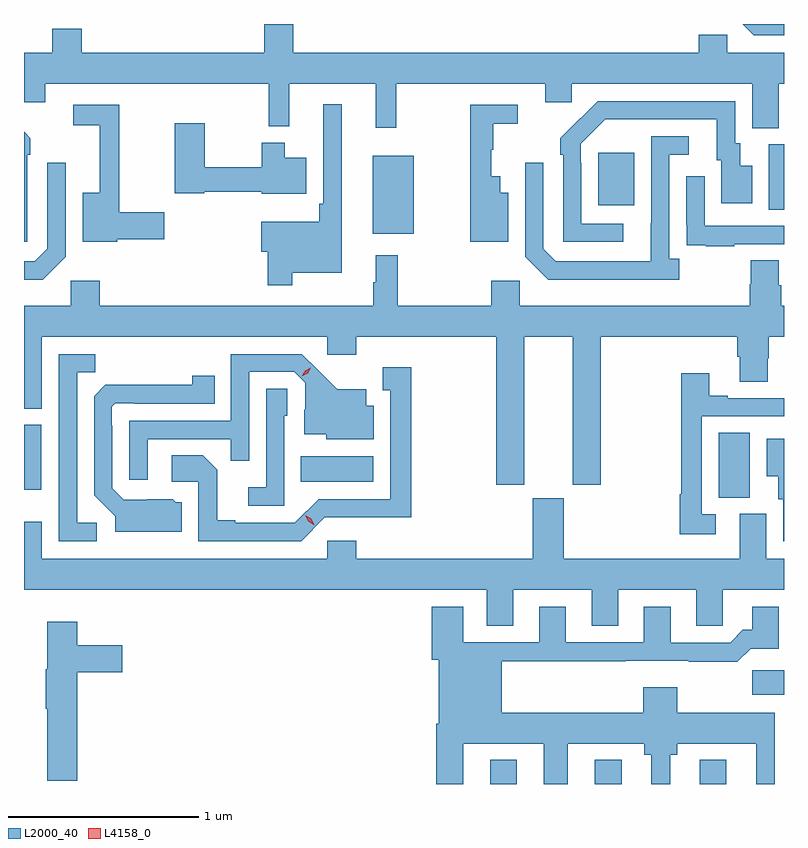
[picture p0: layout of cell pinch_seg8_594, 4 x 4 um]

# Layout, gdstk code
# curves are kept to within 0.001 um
import gdstk
lib = gdstk.Library(unit=1e-6, precision=1e-09)
def R(c, l, rs):  # rectangles x0, y0, x1, y1
    for r in rs: c.add(gdstk.rectangle(r[:2], r[2:], *l))
def A(c, l, x, y, w, h, nx, ny, dx, dy):  # array of equal rectangles
    R(c, l, [(x+i*dx, y+j*dy, x+i*dx+w, y+j*dy+h) for i in range(nx) for j in range(ny)])
def P(c, l, *ps):  # polygons
    for p in ps: c.add(gdstk.Polygon(p, *l))
L2000_40 = (2000, 40)
L4158_0 = (4158, 0)

pinch_seg8_594 = lib.new_cell('pinch_seg8_594')
A(pinch_seg8_594, L2000_40, 159.233, 1098.162, 0.14, 0.127, 3, 1, 0.552, 0)
R(pinch_seg8_594, L2000_40, [(160.614,1098.632,160.78,1098.761), (160.436,1099.669,160.6,1100.012), (156.78,1099.71,156.871,1100.053), (158.236,1099.754,158.617,1099.888), (158.615,1101.059,158.83,1101.469), (160.7,1101.184,160.78,1101.528), (159.803,1101.209,159.991,1101.484)])
P(pinch_seg8_594, L2000_40, [(160.753,1101.848),(160.78,1101.848),(160.78,1102.012),(160.482,1102.012),(160.482,1102.105),(160.331,1102.105),(160.331,1102.012),(158.198,1102.012),(158.198,1102.162),(158.045,1102.162),(158.045,1102.012),(157.085,1102.012),(157.085,1102.136),(156.929,1102.136),(156.929,1102.012),(156.78,1102.012),(156.78,1101.75),(156.892,1101.75),(156.892,1101.848),(158.067,1101.848),(158.067,1101.623),(158.177,1101.623),(158.177,1101.848),(158.63,1101.848),(158.63,1101.615),(158.74,1101.615),(158.74,1101.848),(159.524,1101.848),(159.524,1101.75),(159.663,1101.75),(159.663,1101.848),(160.613,1101.848),(160.613,1101.613),(160.753,1101.613)],
  [(160.78,1102.162),(160.562,1102.162),(160.62,1102.104),(160.78,1102.104)],
  [(159.934,1101.111),(159.714,1101.111),(159.714,1101.431),(159.711,1101.431),(159.711,1101.531),(159.84,1101.66),(160.427,1101.66),(160.427,1101.444),(160.451,1101.444),(160.451,1101.219),(160.612,1101.219),(160.612,1101.415),(160.549,1101.415),(160.549,1101.534),(160.524,1101.534),(160.524,1101.756),(159.8,1101.756),(159.603,1101.561),(159.603,1101.473),(159.618,1101.473),(159.618,1101.015),(159.934,1101.015)],
  [(158.191,1100.852),(158.452,1100.852),(158.452,1101.739),(158.355,1101.739),(158.355,1101.217),(158.335,1101.217),(158.335,1101.121),(158.028,1101.121),(158.028,1100.963),(158.062,1100.963),(158.062,1100.787),(158.191,1100.787)],
  [(159.328,1101.274),(159.286,1101.274),(159.286,1101.361),(159.239,1101.361),(159.239,1101.501),(159.25,1101.501),(159.25,1101.637),(159.379,1101.637),(159.379,1101.738),(159.129,1101.738),(159.129,1101.357),(159.128,1101.357),(159.128,1101.017),(159.328,1101.017)],
  [(157.272,1101.028),(157.519,1101.028),(157.519,1101.17),(157.28,1101.17),(157.28,1101.738),(157.038,1101.738),(157.038,1101.63),(157.178,1101.63),(157.178,1101.274),(157.088,1101.274),(157.088,1101.017),(157.272,1101.017)],
  [(158.266,1101.457),(158.152,1101.457),(158.152,1101.538),(158.03,1101.538),(158.03,1101.409),(157.732,1101.409),(157.732,1101.64),(157.574,1101.64),(157.574,1101.272),(157.728,1101.272),(157.728,1101.28),(158.03,1101.28),(158.03,1101.269),(158.266,1101.269)],
  [(156.798,1101.473),(156.813,1101.473),(156.813,1101.561),(156.78,1101.594),(156.78,1101.015),(156.798,1101.015)],
  [(160.228,1100.926),(160.176,1100.926),(160.176,1101.474),(160.279,1101.474),(160.279,1101.57),(160.08,1101.57),(160.079,1100.913),(159.579,1100.913),(159.513,1100.979),(159.513,1101.433),(159.417,1101.433),(159.417,1100.937),(159.538,1100.816),(160.228,1100.816)],
  [(156.999,1100.937),(156.999,1101.433),(156.903,1101.433),(156.903,1100.979),(156.837,1100.913),(156.78,1100.913),(156.78,1100.816),(156.878,1100.816)],
  [(160.517,1101.003),(160.78,1101.003),(160.78,1101.099),(160.362,1101.099),(160.362,1101.361),(160.266,1101.361),(160.266,1101.106),(160.267,1101.106),(160.267,1100.997),(160.369,1100.997),(160.369,1100.991),(160.517,1100.991)],
  [(160.753,1100.786),(160.753,1100.918),(160.606,1100.918),(160.606,1100.793),(160.601,1100.793),(160.601,1100.68),(159.39,1100.68),(159.39,1100.812),(159.239,1100.812),(159.239,1100.68),(158.747,1100.68),(158.747,1100.944),(158.63,1100.944),(158.63,1100.804),(158.619,1100.804),(158.619,1100.68),(157.178,1100.68),(157.178,1100.812),(157.026,1100.812),(157.026,1100.68),(156.78,1100.68),(156.78,1100.138),(156.874,1100.138),(156.874,1100.516),(158.376,1100.516),(158.376,1100.421),(158.528,1100.421),(158.528,1100.516),(159.265,1100.516),(159.265,1099.737),(159.412,1099.737),(159.412,1100.516),(159.668,1100.516),(159.668,1099.737),(159.816,1099.737),(159.816,1100.516),(160.535,1100.516),(160.535,1100.41),(160.547,1100.41),(160.547,1100.278),(160.695,1100.278),(160.695,1100.403),(160.7,1100.403),(160.7,1100.516),(160.78,1100.516),(160.78,1100.68),(160.766,1100.68),(160.766,1100.786)],
  [(157.162,1099.536),(157.059,1099.536),(157.059,1100.329),(157.155,1100.329),(157.155,1100.424),(156.963,1100.424),(156.963,1099.44),(157.162,1099.44)],
  [(157.431,1099.977),(157.867,1099.977),(157.867,1099.864),(157.965,1099.864),(157.965,1100.331),(158.202,1100.331),(158.259,1100.274),(158.259,1100.132),(158.255,1100.132),(158.255,1100.003),(158.37,1100.003),(158.37,1099.976),(158.62,1099.976),(158.62,1100.152),(158.581,1100.152),(158.581,1100.239),(158.429,1100.239),(158.242,1100.424),(157.869,1100.424),(157.869,1100.073),(157.335,1100.073),(157.335,1099.764),(157.431,1099.764)],
  [(158.364,1099.566),(158.819,1099.565),(158.819,1100.356),(158.669,1100.356),(158.669,1100.235),(158.708,1100.235),(158.708,1099.662),(158.331,1099.662),(158.205,1099.536),(157.891,1099.536),(157.891,1099.549),(157.797,1099.549),(157.797,1099.816),(157.721,1099.892),(157.557,1099.892),(157.557,1099.752),(157.698,1099.752),(157.698,1099.44),(158.238,1099.44)],
  [(160.42,1099.581),(160.347,1099.581),(160.347,1100.097),(160.78,1100.097),(160.78,1100.193),(160.483,1100.193),(160.483,1100.206),(160.387,1100.206),(160.387,1100.323),(160.239,1100.323),(160.239,1099.688),(160.231,1099.688),(160.231,1099.476),(160.42,1099.476)],
  [(157.609,1099.644),(157.578,1099.644),(157.562,1099.66),(157.305,1099.659),(157.245,1099.719),(157.245,1100.048),(157.242,1100.048),(157.242,1100.148),(157.26,1100.166),(157.36,1100.166),(157.36,1100.163),(157.784,1100.163),(157.784,1100.311),(157.666,1100.311),(157.666,1100.264),(157.208,1100.263),(157.149,1100.204),(157.149,1099.682),(157.259,1099.572),(157.259,1099.49),(157.609,1099.49)],
  [(158.151,1100.1),(158.166,1100.1),(158.166,1100.243),(158.055,1100.243),(158.055,1099.723),(157.959,1099.723),(157.959,1099.626),(158.151,1099.626)],
  [(160.78,1099.978),(160.688,1099.978),(160.688,1099.781),(160.751,1099.781),(160.751,1099.662),(160.776,1099.662),(160.776,1099.44),(160.78,1099.44)],
  [(159.355,1099.184),(159.767,1099.184),(159.767,1098.994),(159.907,1098.994),(159.907,1099.184),(160.319,1099.184),(160.319,1098.994),(160.458,1098.994),(160.458,1099.184),(160.78,1099.184),(160.78,1099.348),(160.687,1099.348),(160.687,1099.584),(160.547,1099.584),(160.547,1099.348),(159.622,1099.348),(159.622,1099.665),(159.458,1099.665),(159.458,1099.348),(158.528,1099.348),(158.528,1099.441),(158.376,1099.441),(158.376,1099.348),(156.874,1099.348),(156.874,1099.543),(156.78,1099.543),(156.78,1099.184),(159.215,1099.184),(159.215,1098.994),(159.355,1098.994)],
  [(159.091,1098.374),(159.515,1098.374),(159.515,1098.162),(159.643,1098.162),(159.643,1098.374),(160.045,1098.374),(160.045,1098.317),(160.082,1098.317),(160.082,1098.162),(160.18,1098.162),(160.18,1098.317),(160.218,1098.317),(160.218,1098.374),(160.634,1098.374),(160.634,1098.162),(160.732,1098.162),(160.732,1098.538),(160.218,1098.538),(160.218,1098.67),(160.04,1098.67),(160.04,1098.538),(159.295,1098.538),(159.295,1098.808),(159.947,1098.808),(159.947,1098.812),(160.279,1098.812),(160.279,1098.806),(160.535,1098.806),(160.604,1098.875),(160.753,1098.875),(160.753,1099.096),(160.613,1099.096),(160.613,1098.973),(160.564,1098.973),(160.497,1098.906),(160.183,1098.906),(160.183,1099.096),(160.043,1099.096),(160.043,1098.909),(159.631,1098.909),(159.631,1099.096),(159.491,1099.096),(159.491,1098.909),(159.091,1098.909),(159.091,1099.096),(158.927,1099.096),(158.927,1098.816),(158.963,1098.816),(158.963,1098.478),(158.951,1098.478),(158.951,1098.162),(159.091,1098.162)],
  [(157.061,1098.749),(157.297,1098.749),(157.297,1098.891),(157.061,1098.891),(157.061,1099.015),(156.902,1099.015),(156.902,1098.765),(156.895,1098.765),(156.895,1098.559),(156.902,1098.559),(156.902,1098.18),(157.061,1098.18)])
P(pinch_seg8_594, L4158_0, [(158.307,1099.524),(158.276,1099.544),(158.259,1099.576),(158.259,1099.577),(158.26,1099.577),(158.291,1099.557),(158.308,1099.525),(158.308,1099.524)],
  [(158.242,1100.308),(158.242,1100.308),(158.259,1100.338),(158.29,1100.353),(158.29,1100.353),(158.29,1100.353),(158.273,1100.323),(158.242,1100.308)])

lib.write_gds('pinch_seg8_594.gds')
